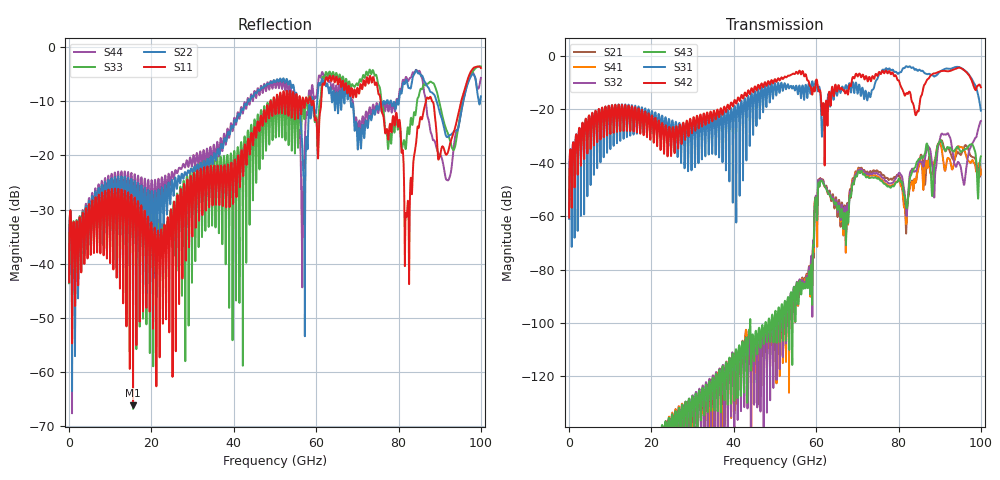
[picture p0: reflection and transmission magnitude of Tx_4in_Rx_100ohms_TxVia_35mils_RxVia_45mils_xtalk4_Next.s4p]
! Info: Touchstone file created by Circ.  Input file=Tx_4in_Rx_100ohms_TxVia_35mils_RxVia_45mils.circ
# Hz S RI R 50
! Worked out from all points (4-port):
!   10000 points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, 10 MHz to 100 GHz, reference 50 ohm
!   strongest paths, dB at 10 MHz, 25.01 GHz, 50.01 GHz, 75.01 GHz, 100 GHz:
!     S42: -60.5, -28.6, -8.7, -7.1, -11.7
!     S31: -61.0, -24.5, -10.3, -8.0, -20.5
!     S43: -, -134.2, -96.4, -45.8, -37.6
!     S32: -, -134.9, -98.1, -44.2, -24.4
!     S41: -, -133.8, -98.5, -45.3, -44.4
!     S21: -, -136.2, -100.8, -43.3, -42.6
!   lowest |S11| = -66.2 dB at 15.54 GHz (marker M1), VSWR 1.00, Z = 50 + j0.0294 ohm
!   |S11| at or under -10 dB: start of sweep to 48.87 GHz; 75.67 GHz to 86.64 GHz (10.97 GHz wide, 13.5 % of centre); 88.16 GHz to 95.2 GHz (7.041 GHz wide, 7.68 % of centre)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
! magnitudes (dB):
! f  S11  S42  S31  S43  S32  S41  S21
! 10 MHz  -43.4  -60.5  -61.0  -  -  -  -
! 15.54 GHz  -66.2  -24.1  -24.4  -161.7  -156.8  -158.0  -157.8
! 58.15 GHz  -10.0  -9.4  -10.6  -83.3  -80.7  -82.1  -79.8
! 61 GHz  -11.8  -13.1  -14.0  -46.9  -46.1  -46.6  -45.8
! 82.17 GHz  -29.2  -14.2  -4.1  -55.8  -55.5  -54.6  -55.0
! 90.21 GHz  -19.6  -5.7  -5.8  -31.6  -30.0  -33.1  -31.7
! 100 GHz  -3.9  -11.7  -20.5  -37.6  -24.4  -44.4  -42.6
